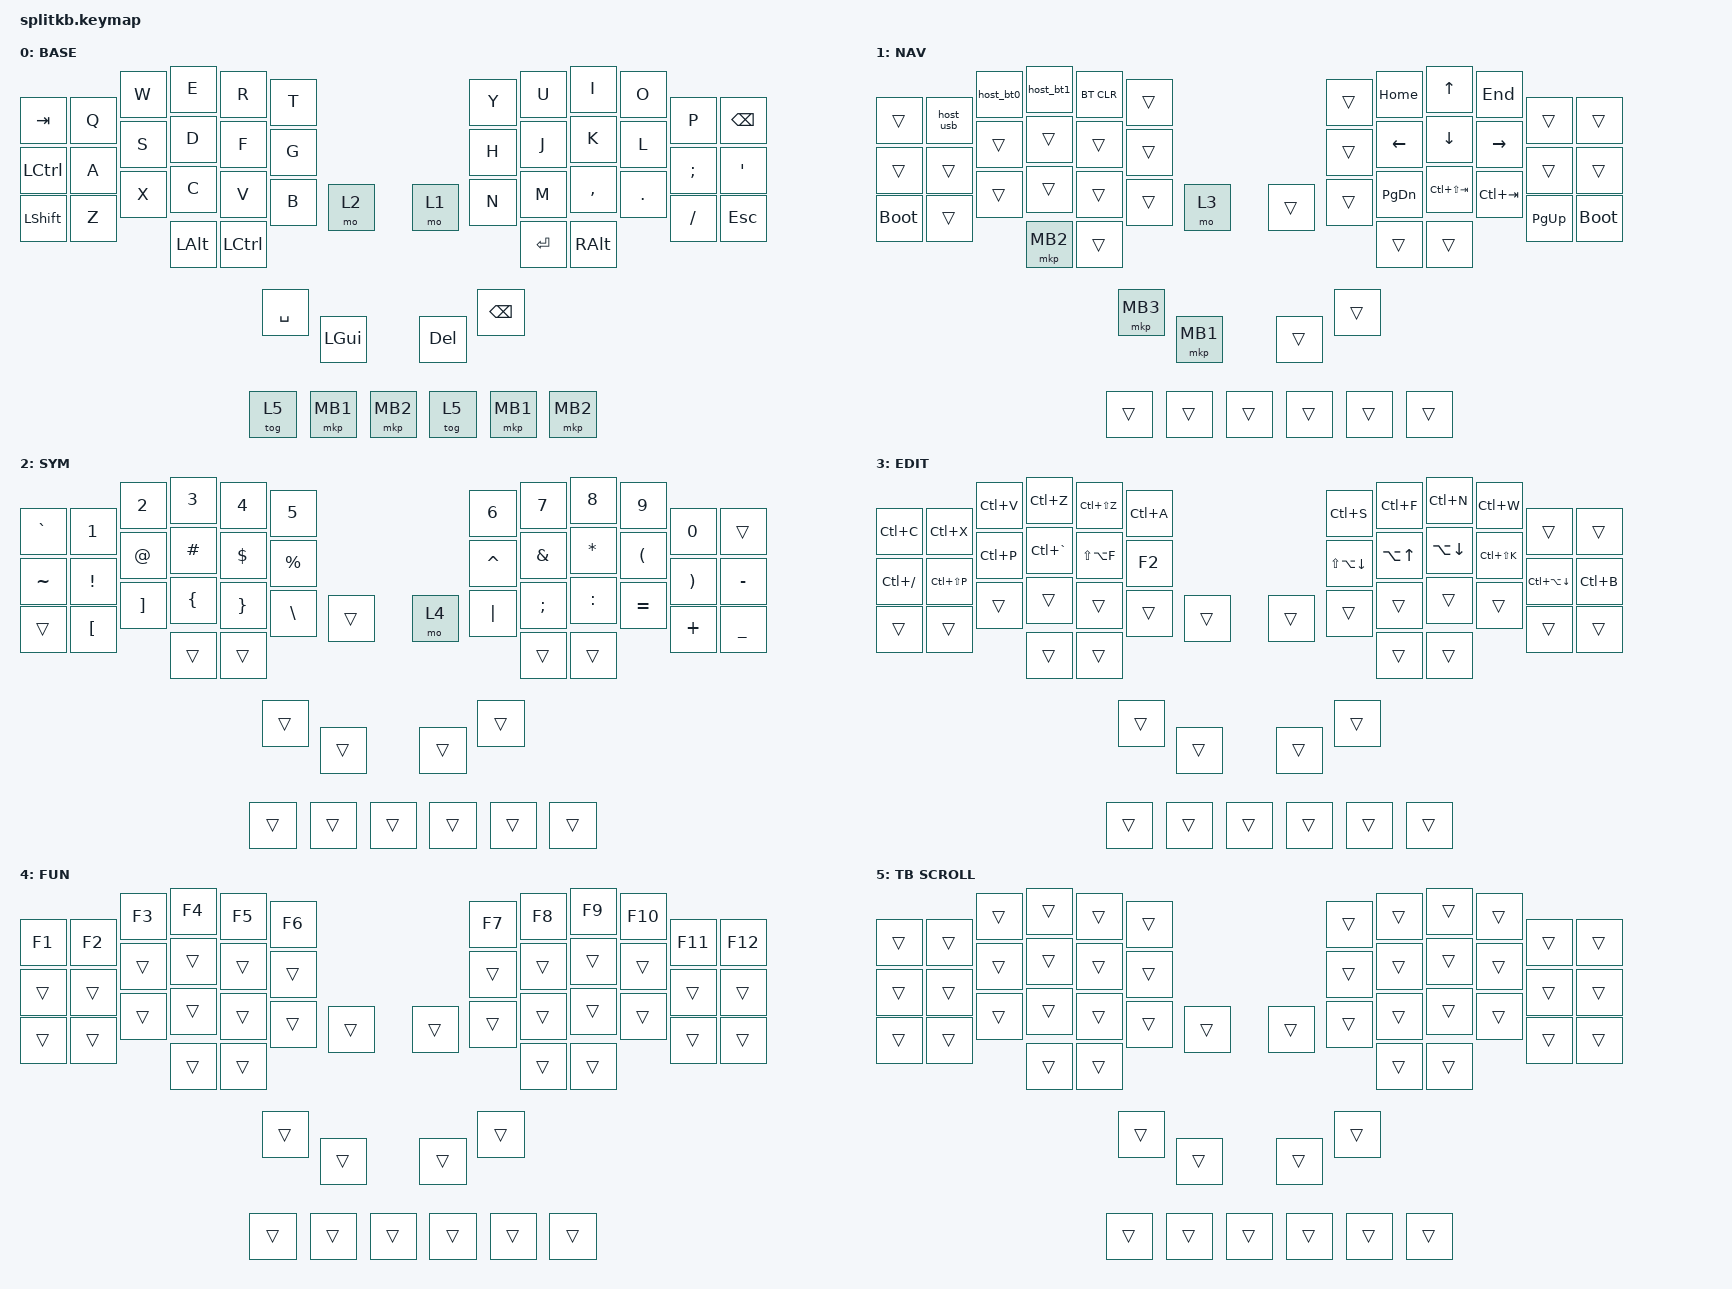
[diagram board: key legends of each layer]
#include <behaviors.dtsi>
#include <dt-bindings/zmk/keys.h>
#include <dt-bindings/zmk/pointing.h>
#include <dt-bindings/zmk/outputs.h>
#include <dt-bindings/zmk/bt.h>

/*
 * KEYMAP — 5 camadas ativas + 27 reservadas pro ZMK Studio.
 * Ordem das teclas segue o transform (ver splitkb.dtsi):
 *   3 fileiras principais de 6 (por lado) + fileira 3 (polegares):
 *     [pol-interno pol1 pol2  índice-extra-C3  índice-extra-C4]
 *
 * ACESSO AS CAMADAS (mockup em keymap-mockup/, 2026-07-23):
 *   SYM (numeros/simbolos) = segura o polegar ESQUERDO interno (&mo 2)
 *   NAV (setas/mouse/host) = segura o polegar DIREITO interno (&mo 1)
 *   FUN (F1-F12)           = segura NAV e, com ele segurado, segura
 *                             TAMBEM a tecla que e SYM na base (&mo 3
 *                             definido DENTRO da nav_layer)
 *   EDIT (atalhos gerais + VS Code, 2026-07-27) = segura SYM e, com ele
 *                             segurado, segura TAMBEM a tecla que e NAV
 *                             na base (&mo 4 definido DENTRO da sym_layer)
 *
 * Cliques de mouse (MB3/MB1/MB2) moraram nas thumb keys esquerdas dentro
 * da nav_layer -- ficam livres porque o polegar direito esta ocupado
 * segurando NAV.
 *
 * &bootloader (nav_layer, cantos inferiores externos): poe a placa em modo
 * UF2 pra atualizar o firmware sem precisar do reset duplo -- o board nao
 * tem botoes. Tem UM EM CADA LADO de proposito: a behavior de reset e
 * BEHAVIOR_LOCALITY_EVENT_SOURCE, ou seja, roda na metade onde a tecla foi
 * apertada, e nao na central. Canto esquerdo = flasheia o esquerdo; canto
 * direito = flasheia o direito. Cabo USB tem que estar no lado alvo.
 *
 * Studio unlock REMOVIDO (2026-07-23): CONFIG_ZMK_STUDIO_LOCKING=n ja
 * deixa o Studio sempre destravado, a tecla nunca teve efeito nenhum.
 */

/ {
    /* SLOTS DE HOST (dongle multi-host):
     *   slot 1 = USB do dongle          -> tela: "YE NOT GUILTY"
     *   slot 2 = Bluetooth (perfil 0)   -> tela: "YE GUILTY"
     *   slot 3 = Bluetooth (perfil 1)   -> tela: "YE NOT"
     * Macros porque o slot BT e uma acao dupla: mudar a saida pra BLE E
     * selecionar o perfil. Perfil vazio = dongle anuncia pra parear.
     * (Os perfis BT de host sao independentes das conexoes com as metades.) */
    macros {
        host_usb: host_usb {
            compatible = "zmk,behavior-macro";
            #binding-cells = <0>;
            bindings = <&out OUT_USB>;
        };
        host_bt0: host_bt0 {
            compatible = "zmk,behavior-macro";
            #binding-cells = <0>;
            bindings = <&out OUT_BLE &bt BT_SEL 0>;
        };
        host_bt1: host_bt1 {
            compatible = "zmk,behavior-macro";
            #binding-cells = <0>;
            bindings = <&out OUT_BLE &bt BT_SEL 1>;
        };
    };

    keymap {
        compatible = "zmk,keymap";

        base_layer {
            display-name = "BASE";
            bindings = <
//  ┌─────┬─────┬─────┬─────┬─────┬─────┐     ┌─────┬─────┬─────┬─────┬─────┬─────┐
   &kp TAB   &kp Q &kp W &kp E &kp R &kp T       &kp Y &kp U &kp I    &kp O   &kp P    &kp BSPC
   &kp LCTRL &kp A &kp S &kp D &kp F &kp G       &kp H &kp J &kp K    &kp L   &kp SEMI &kp SQT
   &kp LSHFT &kp Z &kp X &kp C &kp V &kp B       &kp N &kp M &kp COMMA &kp DOT &kp FSLH &kp ESC
//  └─────┴─────┴─────┼─────┼─────┼─────┤     ├─────┼─────┼─────┼─────┼─────┴─────┘
                  &mo 2 &kp SPACE &kp LGUI  &kp LALT &kp LCTRL       &mo 1 &kp RET &kp RALT  &kp BSPC &kp DEL
//                 SYM                                                NAV
   &tog 5 &mkp MB1 &mkp MB2   &tog 5 &mkp MB1 &mkp MB2
// trackball: A1(toggle scroll) A2(clique esq) A3(clique dir)  B1 B2 B3
            >;
        };

        nav_layer {
            display-name = "NAV";
            bindings = <
// Q/W/E = host: USB, BT perfil 0, BT perfil 1; R = BT_CLR (esquece o host do
// perfil ATIVO -- pro slot voltar a anunciar aberto; nao afeta as metades)
   &trans &host_usb &host_bt0 &host_bt1 &bt BT_CLR &trans     &trans &kp HOME &kp UP   &kp END        &trans &trans
   &trans &trans    &trans    &trans    &trans     &trans     &trans &kp LEFT &kp DOWN &kp RIGHT      &trans &trans
   &bootloader &trans &trans &trans &trans &trans     &trans &kp PG_DN &kp LC(LS(TAB)) &kp LC(TAB) &kp PG_UP &bootloader
// polegar esquerdo: FUN (aninhado) + cliques do mouse (MB3=meio,MB1=esq,MB2=dir)
                &mo 3 &mkp MB3 &mkp MB1 &mkp MB2 &trans       &trans &trans &trans &trans &trans
//               FUN                                           NAV (self)
   &trans &trans &trans   &trans &trans &trans
            >;
        };

        sym_layer {
            display-name = "SYM";
            bindings = <
   &kp GRAVE &kp N1   &kp N2  &kp N3   &kp N4    &kp N5        &kp N6    &kp N7   &kp N8    &kp N9  &kp N0   &trans
   &kp TILDE &kp EXCL &kp AT  &kp HASH &kp DOLLAR &kp PERCENT   &kp CARET &kp AMPS &kp ASTRK &kp LPAR &kp RPAR &kp MINUS
   &trans    &kp LBKT &kp RBKT &kp LBRC &kp RBRC &kp BSLH       &kp PIPE  &kp SEMI &kp COLON &kp EQUAL &kp PLUS &kp UNDER
// polegar direito: EDIT aninhado (segura SYM, dai segura essa tecla tambem)
                    &trans &trans &trans &trans &trans            &mo 4  &trans &trans &trans &trans
//                   SYM (self)                                    EDIT
   &trans &trans &trans   &trans &trans &trans
            >;
        };

        edit_layer {
            display-name = "EDIT";
            bindings = <
// geral (esquerda) / arquivo-janela (direita)
   &kp LC(C)    &kp LC(X)      &kp LC(V) &kp LC(Z)       &kp LC(LS(Z)) &kp LC(A)       &kp LC(S) &kp LC(F) &kp LC(N) &kp LC(W) &trans &trans
// VS Code: comentar, paleta, quick-open, terminal, formatar, renomear | duplicar linha, mover linha, excluir linha, multi-cursor, sidebar
   &kp LC(FSLH) &kp LC(LS(P))  &kp LC(P) &kp LC(GRAVE)   &kp LS(LA(F)) &kp F2          &kp LS(LA(DOWN)) &kp LA(UP) &kp LA(DOWN) &kp LC(LS(K)) &kp LC(LA(DOWN)) &kp LC(B)
   &trans &trans &trans &trans &trans &trans       &trans &trans &trans &trans &trans &trans
                 &trans &trans &trans &trans &trans   &trans &trans &trans &trans &trans
//                SYM (segurada junto)                  EDIT (self)
   &trans &trans &trans   &trans &trans &trans
            >;
        };

        fun_layer {
            display-name = "FUN";
            bindings = <
   &kp F1 &kp F2 &kp F3 &kp F4 &kp F5 &kp F6       &kp F7 &kp F8 &kp F9 &kp F10 &kp F11 &kp F12
   &trans &trans &trans &trans &trans &trans       &trans &trans &trans &trans  &trans  &trans
   &trans &trans &trans &trans &trans &trans       &trans &trans &trans &trans  &trans  &trans
                 &trans &trans &trans &trans &trans   &trans &trans &trans &trans &trans
//                FUN (self)                          NAV (segurada junto)
   &trans &trans &trans   &trans &trans &trans
            >;
        };

        /* Camada 5 -- NAO reservada, consumida pra trackball (ver
         * tb_listener em splitkb-common.dtsi). So serve de FLAG: nao
         * redefine nenhuma tecla do teclado (tudo &trans, cai pra
         * base_layer) -- ativada/desativada pelo &tog 5 no lugar do clique
         * do meio da trackball (ver base_layer). Enquanto ativa, mover a
         * bola vira scroll em vez de mover o cursor. */
        trackball_layer {
            display-name = "TB SCROLL";
            bindings = <
   &trans &trans &trans &trans &trans &trans   &trans &trans &trans &trans &trans &trans
   &trans &trans &trans &trans &trans &trans   &trans &trans &trans &trans &trans &trans
   &trans &trans &trans &trans &trans &trans   &trans &trans &trans &trans &trans &trans
                 &trans &trans &trans &trans &trans   &trans &trans &trans &trans &trans
   &trans &trans &trans   &trans &trans &trans
            >;
        };

        /* 26 camadas RESERVADAS (total 32 = teto do ZMK, mascara uint32;
         * uma a menos que antes, consumida pela trackball_layer acima).
         * Nao existem no firmware ate serem ativadas pelo ZMK Studio, onde
         * aparecem como camadas extras pra criar/renomear/preencher. */
        extra_02 { status = "reserved"; };
        extra_03 { status = "reserved"; };
        extra_04 { status = "reserved"; };
        extra_05 { status = "reserved"; };
        extra_06 { status = "reserved"; };
        extra_07 { status = "reserved"; };
        extra_08 { status = "reserved"; };
        extra_09 { status = "reserved"; };
        extra_10 { status = "reserved"; };
        extra_11 { status = "reserved"; };
        extra_12 { status = "reserved"; };
        extra_13 { status = "reserved"; };
        extra_14 { status = "reserved"; };
        extra_15 { status = "reserved"; };
        extra_16 { status = "reserved"; };
        extra_17 { status = "reserved"; };
        extra_18 { status = "reserved"; };
        extra_19 { status = "reserved"; };
        extra_20 { status = "reserved"; };
        extra_21 { status = "reserved"; };
        extra_22 { status = "reserved"; };
        extra_23 { status = "reserved"; };
        extra_24 { status = "reserved"; };
        extra_25 { status = "reserved"; };
        extra_26 { status = "reserved"; };
        extra_27 { status = "reserved"; };
    };
};
